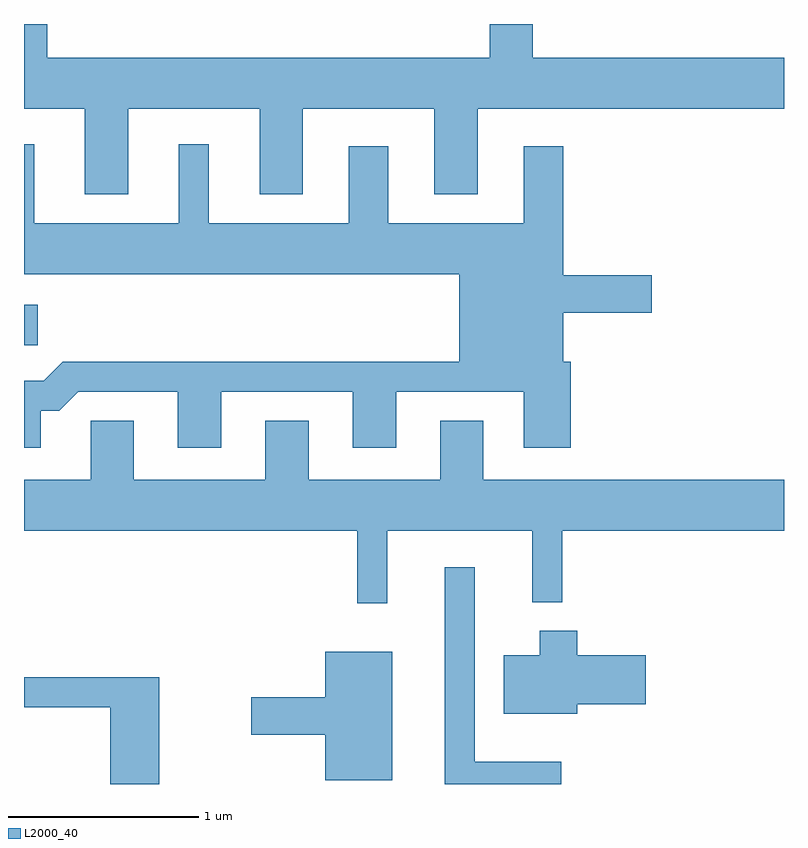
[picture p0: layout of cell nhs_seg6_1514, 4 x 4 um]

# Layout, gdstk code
import gdstk
lib = gdstk.Library(unit=1e-6, precision=1e-09)
def R(c, l, rs):  # rectangles x0, y0, x1, y1
    for r in rs: c.add(gdstk.rectangle(r[:2], r[2:], *l))
def P(c, l, *ps):  # polygons
    for p in ps: c.add(gdstk.Polygon(p, *l))
L2000_40 = (2000, 40)

nhs_seg6_1514 = lib.new_cell('nhs_seg6_1514')
R(nhs_seg6_1514, L2000_40, [(229.611,1646.471,229.684,1646.684)])
P(nhs_seg6_1514, L2000_40, [(233.611,1647.984),(232.289,1647.984),(232.289,1648.162),(232.061,1648.162),(232.061,1647.984),(229.734,1647.984),(229.734,1648.162),(229.611,1648.162),(229.611,1647.716),(229.931,1647.716),(229.931,1647.266),(230.159,1647.266),(230.159,1647.716),(230.851,1647.716),(230.851,1647.266),(231.079,1647.266),(231.079,1647.716),(231.771,1647.716),(231.771,1647.266),(231.999,1647.266),(231.999,1647.716),(233.611,1647.716)],
  [(229.699,1646.126),(229.797,1646.126),(229.897,1646.226),(230.421,1646.226),(230.421,1645.931),(230.649,1645.931),(230.649,1646.226),(231.341,1646.226),(231.341,1645.931),(231.569,1645.931),(231.569,1646.226),(232.241,1646.226),(232.241,1645.931),(232.489,1645.931),(232.489,1646.384),(232.449,1646.384),(232.449,1646.641),(232.914,1646.641),(232.914,1646.839),(232.449,1646.839),(232.449,1647.519),(232.241,1647.519),(232.241,1647.114),(231.529,1647.114),(231.529,1647.519),(231.321,1647.519),(231.321,1647.114),(230.584,1647.114),(230.584,1647.528),(230.426,1647.528),(230.426,1647.114),(229.664,1647.114),(229.664,1647.528),(229.611,1647.528),(229.611,1646.846),(231.901,1646.846),(231.901,1646.384),(229.814,1646.384),(229.714,1646.284),(229.611,1646.284),(229.611,1645.931),(229.699,1645.931)],
  [(231.524,1645.496),(232.286,1645.496),(232.286,1645.118),(232.444,1645.118),(232.444,1645.496),(233.611,1645.496),(233.611,1645.764),(232.029,1645.764),(232.029,1646.074),(231.801,1646.074),(231.801,1645.764),(231.109,1645.764),(231.109,1646.074),(230.881,1646.074),(230.881,1645.764),(230.189,1645.764),(230.189,1646.074),(229.961,1646.074),(229.961,1645.764),(229.611,1645.764),(229.611,1645.496),(231.366,1645.496),(231.366,1645.113),(231.524,1645.113)],
  [(232.439,1644.279),(231.984,1644.279),(231.984,1645.303),(231.826,1645.303),(231.826,1644.162),(232.439,1644.162)],
  [(232.524,1644.581),(232.884,1644.581),(232.884,1644.839),(232.524,1644.839),(232.524,1644.969),(232.326,1644.969),(232.326,1644.839),(232.136,1644.839),(232.136,1644.531),(232.524,1644.531)],
  [(231.549,1644.859),(231.196,1644.859),(231.196,1644.619),(230.806,1644.619),(230.806,1644.421),(231.196,1644.421),(231.196,1644.181),(231.549,1644.181)],
  [(230.324,1644.724),(229.611,1644.724),(229.611,1644.566),(230.066,1644.566),(230.066,1644.162),(230.324,1644.162)])

lib.write_gds('nhs_seg6_1514.gds')
